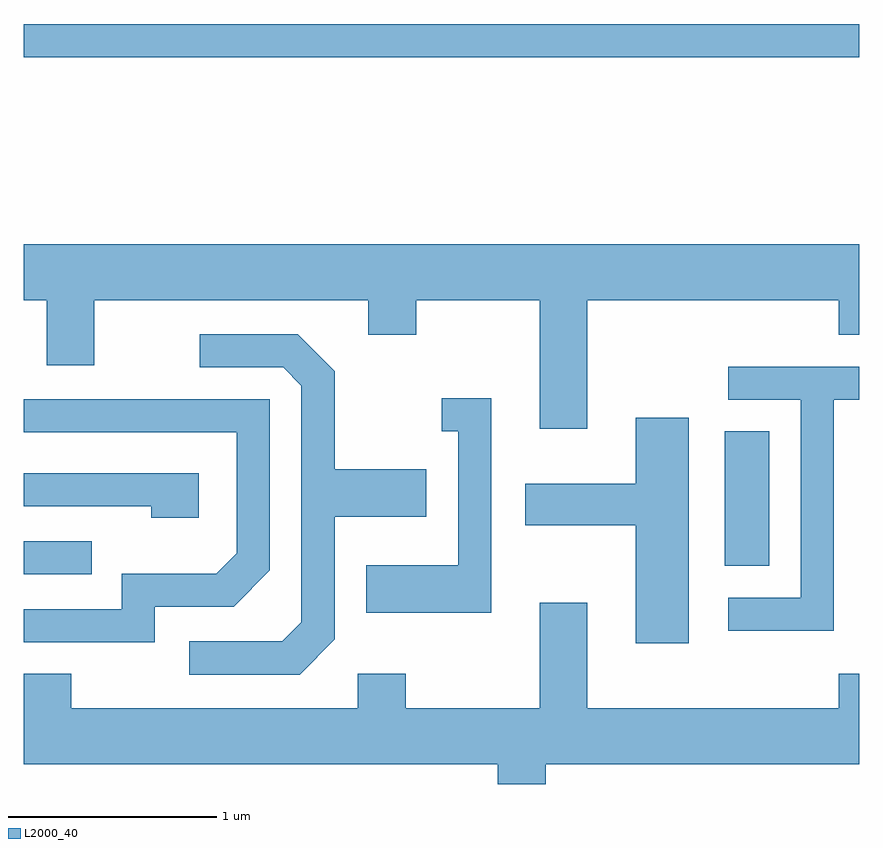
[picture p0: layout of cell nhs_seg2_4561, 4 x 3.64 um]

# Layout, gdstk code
import gdstk
lib = gdstk.Library(unit=1e-6, precision=1e-09)
def R(c, l, rs):  # rectangles x0, y0, x1, y1
    for r in rs: c.add(gdstk.rectangle(r[:2], r[2:], *l))
def P(c, l, *ps):  # polygons
    for p in ps: c.add(gdstk.Polygon(p, *l))
L2000_40 = (2000, 40)

nhs_seg2_4561 = lib.new_cell('nhs_seg2_4561')
R(nhs_seg2_4561, L2000_40, [(319.611,1024.806,319.938,1024.964), (322.966,1024.846,323.179,1025.489), (319.611,1027.281,323.611,1027.439)])
P(nhs_seg2_4561, L2000_40, [(319.611,1026.116),(319.721,1026.116),(319.721,1025.806),(319.949,1025.806),(319.949,1026.116),(321.261,1026.116),(321.261,1025.951),(321.489,1025.951),(321.489,1026.116),(322.081,1026.116),(322.081,1025.501),(322.309,1025.501),(322.309,1026.116),(323.511,1026.116),(323.511,1025.951),(323.611,1025.951),(323.611,1026.384),(319.611,1026.384)],
  [(321.099,1024.494),(321.099,1025.081),(321.539,1025.081),(321.539,1025.309),(321.099,1025.309),(321.099,1025.777),(320.922,1025.954),(320.453,1025.954),(320.453,1025.796),(320.854,1025.796),(320.941,1025.709),(320.941,1024.577),(320.849,1024.484),(320.403,1024.484),(320.403,1024.326),(320.932,1024.326)],
  [(323.489,1025.641),(323.611,1025.641),(323.611,1025.799),(322.983,1025.799),(322.983,1025.641),(323.331,1025.641),(323.331,1024.694),(322.983,1024.694),(322.983,1024.536),(323.489,1024.536)],
  [(321.849,1025.649),(321.613,1025.649),(321.613,1025.491),(321.691,1025.491),(321.691,1024.849),(321.251,1024.849),(321.251,1024.621),(321.849,1024.621)],
  [(320.239,1024.651),(320.617,1024.651),(320.789,1024.824),(320.789,1025.644),(319.611,1025.644),(319.611,1025.486),(320.631,1025.486),(320.631,1024.907),(320.534,1024.809),(320.081,1024.809),(320.081,1024.639),(319.611,1024.639),(319.611,1024.481),(320.239,1024.481)],
  [(322.794,1025.554),(322.541,1025.554),(322.541,1025.239),(322.011,1025.239),(322.011,1025.041),(322.541,1025.041),(322.541,1024.476),(322.794,1024.476)],
  [(320.449,1025.289),(319.611,1025.289),(319.611,1025.131),(320.221,1025.131),(320.221,1025.076),(320.449,1025.076)],
  [(322.081,1024.164),(321.439,1024.164),(321.439,1024.329),(321.211,1024.329),(321.211,1024.164),(319.839,1024.164),(319.839,1024.329),(319.611,1024.329),(319.611,1023.896),(321.881,1023.896),(321.881,1023.802),(322.109,1023.802),(322.109,1023.896),(323.611,1023.896),(323.611,1024.329),(323.511,1024.329),(323.511,1024.164),(322.309,1024.164),(322.309,1024.669),(322.081,1024.669)])

lib.write_gds('nhs_seg2_4561.gds')
